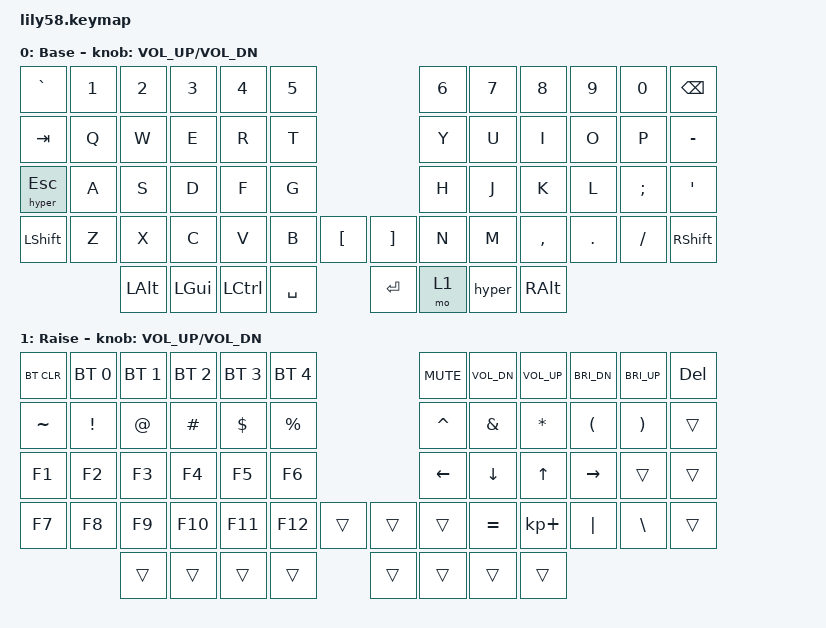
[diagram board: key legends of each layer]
/*
 * Copyright (c) 2020 The ZMK Contributors
 *
 * SPDX-License-Identifier: MIT
 */

#include <behaviors.dtsi>
#include <dt-bindings/zmk/keys.h>
#include <dt-bindings/zmk/bt.h>
#include <dt-bindings/zmk/ext_power.h>
#include <dt-bindings/zmk/modifiers.h>

/ {
    macros {
        hyper: hyper {
            compatible = "zmk,behavior-macro";
            #binding-cells = <0>;
            wait-ms = <0>;
            tap-ms = <0>;
            bindings =
                <&macro_press &kp LCTRL &kp LSHFT &kp LALT &kp LGUI>
                , <&macro_pause_for_release>
                , <&macro_release &kp LCTRL &kp LSHFT &kp LALT &kp LGUI>;
        };
    };
    behaviors {
        esc_hyper: esc_hyper {
            compatible = "zmk,behavior-hold-tap";
            #binding-cells = <2>;
            flavor = "tap-preferred";
            tapping-term-ms = <200>;
            quick-tap-ms = <200>;
            bindings = <&hyper>, <&kp>;
        };
    };

    keymap {
        compatible = "zmk,keymap";

        default_layer {
                    /*
                    * ------------------------------------------------------------------------------------------------------------
                    * |   `   |  1  |  2  |  3   |  4   |  5   |                   |  6   |  7    |  8    |  9   |   0   | BSPC  |
                    * |  TAB  |  Q  |  W  |  E   |  R   |  T   |                   |  Y   |  U    |  I    |  O   |   P   |   -   |
                    * |ESC/HYP|  A  |  S  |  D   |  F   |  G   |                   |  H   |  J    |  K    |  L   |   ;   |   '   |
                    * | SHIFT |  Z  |  X  |  C   |  V   |  B   |   "["  |  |  "]"  |  N   |  M    |  ,    |  .   |   /   | SHIFT |
                    *                     | ALT  | GUI  | CTRL |  SPACE |  | ENTER | TRNS | HYPER | GUI   |
                    */
            display-name = "Base";
            bindings = <
                &kp GRAVE &kp N1 &kp N2 &kp N3   &kp N4   &kp N5                     &kp N6 &kp N7   &kp N8    &kp N9  &kp N0   &kp BSPC
                &kp TAB   &kp Q  &kp W  &kp E    &kp R    &kp T                      &kp Y  &kp U    &kp I     &kp O   &kp P    &kp MINUS
                &esc_hyper 0 ESC &kp A  &kp S  &kp D    &kp F    &kp G               &kp H  &kp J    &kp K     &kp L   &kp SEMI &kp SQT
                &kp LSHFT &kp Z  &kp X  &kp C    &kp V    &kp B  &kp LBKT   &kp RBKT &kp N  &kp M    &kp COMMA &kp DOT &kp FSLH &kp RSHFT
                                    &kp LALT &kp LGUI &kp LCTRL &kp SPACE   &kp RET  &mo 1 &hyper   &kp RALT
            >;

            sensor-bindings = <&inc_dec_kp C_VOL_UP C_VOL_DN>;
        };
        raise_layer {
                    /*
                    * ------------------------------------------------------------------------------------------------------------
                    * | BTCLR | BT1 | BT2 |  BT3 |  BT4 |  BT5 |                   | MUTE | VOLDN | VOLUP | BRIDN| BRIUP |  DEL  |
                    * |   ~   |  !  |  @  |  #   |  $   |  %   |                   |  ^   |   &   |   *   |  (   |   )   |       |
                    * |  F1   | F2  | F3  |  F4  |  F5  |  F6  |                   |  <-  |   v   |   ^   |  ->  |       |       |
                    * |  F7   | F8  | F9  |  F10 |  F11 |  F12 |        |  |       |      |   =   |   +   |  |   |  \   |       |
                    *                     |      |      |      |        |  |       |      |       |       |
                    */
            display-name = "Raise";
            bindings = <
                &bt BT_CLR &bt BT_SEL 0 &bt BT_SEL 1 &bt BT_SEL 2 &bt BT_SEL 3 &bt BT_SEL 4   &kp C_MUTE  &kp C_VOL_DN &kp C_VOL_UP &kp C_BRI_DN &kp C_BRI_UP &kp DEL
                &kp TILDE &kp EXCL &kp AT   &kp HASH &kp DLLR &kp PRCNT               &kp CARET   &kp AMPS  &kp ASTRK &kp LPAR &kp RPAR  &trans
                &kp F1    &kp F2  &kp F3  &kp F4   &kp F5   &kp F6                        &kp LEFT    &kp DOWN  &kp UP    &kp RIGHT &trans    &trans
                &kp F7    &kp F8  &kp F9  &kp F10  &kp F11  &kp F12  &trans   &trans    &trans       &kp EQUAL &kp KP_PLUS &kp PIPE &kp BSLH &trans
                                        &trans  &trans  &trans    &trans   &trans    &trans      &trans    &trans
            >;

            sensor-bindings = <&inc_dec_kp C_VOL_UP C_VOL_DN>;
        };

        extra_1 {
            status = "reserved";
        };

        extra_2 {
            status = "reserved";
        };

        extra_3 {
            status = "reserved";
        };
    };
};
